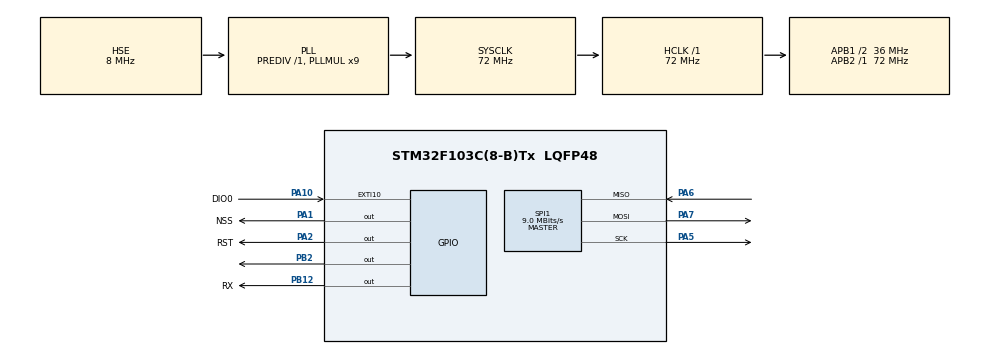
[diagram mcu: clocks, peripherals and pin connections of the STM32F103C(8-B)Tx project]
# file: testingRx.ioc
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Mcu.Family=STM32F1
Mcu.Name=STM32F103C(8-B)Tx
Mcu.Package=LQFP48
NVIC.EXTI15_10_IRQn=true\:0\:0\:false\:false\:true\:true\:true\:true
NVIC.PriorityGroup=NVIC_PRIORITYGROUP_4
PA1.GPIO_Label=NSS
PA1.PinState=GPIO_PIN_SET
PA1.Signal=GPIO_Output
PA10.GPIO_Label=DIO0
PA10.GPIO_ModeDefaultEXTI=GPIO_MODE_IT_RISING
PA10.Signal=GPXTI10
PA13.Mode=Serial_Wire
PA13.Signal=SYS_JTMS-SWDIO
PA14.Mode=Serial_Wire
PA14.Signal=SYS_JTCK-SWCLK
PA2.GPIO_Label=RST
PA2.PinState=GPIO_PIN_SET
PA2.Signal=GPIO_Output
PA5.Mode=Full_Duplex_Master
PA5.Signal=SPI1_SCK
PA6.Mode=Full_Duplex_Master
PA6.Signal=SPI1_MISO
PA7.Mode=Full_Duplex_Master
PA7.Signal=SPI1_MOSI
PB12.GPIO_Label=RX
PB12.Signal=GPIO_Output
PB2.Signal=GPIO_Output
PD0-OSC_IN.Mode=HSE-External-Oscillator
PD0-OSC_IN.Signal=RCC_OSC_IN
PD1-OSC_OUT.Mode=HSE-External-Oscillator
PD1-OSC_OUT.Signal=RCC_OSC_OUT
ProjectManager.HeapSize=0x200
ProjectManager.StackSize=0x400
ProjectManager.TargetToolchain=STM32CubeIDE
RCC.AHBFreq_Value=72000000
RCC.APB1CLKDivider=RCC_HCLK_DIV2
RCC.APB1Freq_Value=36000000
RCC.APB1TimFreq_Value=72000000
RCC.APB2Freq_Value=72000000
RCC.APB2TimFreq_Value=72000000
RCC.HCLKFreq_Value=72000000
RCC.PLLMUL=RCC_PLL_MUL9
RCC.PLLSourceVirtual=RCC_PLLSOURCE_HSE
RCC.SYSCLKFreq_VALUE=72000000
RCC.SYSCLKSource=RCC_SYSCLKSOURCE_PLLCLK
RCC.USBFreq_Value=72000000
SPI1.BaudRatePrescaler=SPI_BAUDRATEPRESCALER_8
SPI1.CalculateBaudRate=9.0 MBits/s
SPI1.Direction=SPI_DIRECTION_2LINES
SPI1.Mode=SPI_MODE_MASTER
SPI1.VirtualType=VM_MASTER
board=custom

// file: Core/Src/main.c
/* USER CODE BEGIN Header */
/**
  ******************************************************************************
  * @file           : main.c
  * @brief          : Main program body
  ******************************************************************************
  * @attention
  *
  * Copyright (c) 2026 STMicroelectronics.
  * All rights reserved.
  *
  * This software is licensed under terms that can be found in the LICENSE file
  * in the root directory of this software component.
  * If no LICENSE file comes with this software, it is provided AS-IS.
  *
  ******************************************************************************
  */
/* USER CODE END Header */
#include "main.h"
#include "spi.h"
#include "gpio.h"

/* USER CODE BEGIN Includes */
#include "Rx_functions.h"

#include "../../myDrivers/LoRa.h"
/* USER CODE END Includes */

/* USER CODE BEGIN PV */
 LoRa myLoRa;
 uint8_t status;
 uint8_t rec_data[20];
 uint8_t empty[20];
 uint8_t packet_size;
 uint32_t goodCount;
 uint32_t badCount;
 uint32_t rate;
 header hd;
 kinematics kin_packet;
 powertrain pwr_packet;
/* USER CODE END PV */

void SystemClock_Config(void);

int main(void)
{

  /* MCU Configuration--------------------------------------------------------*/

  /* Reset of all peripherals, Initializes the Flash interface and the Systick. */
  HAL_Init();

  /* Configure the system clock */
  SystemClock_Config();

  /* Initialize all configured peripherals */
  MX_GPIO_Init();
  MX_SPI1_Init();
  /* USER CODE BEGIN 2 */
myLoRa = newLoRa();
myLoRa.CS_port         = NSS_GPIO_Port;
myLoRa.CS_pin          = NSS_Pin;
myLoRa.reset_port      = RST_GPIO_Port;
myLoRa.reset_pin       = RST_Pin;
myLoRa.DIO0_port       = DIO0_GPIO_Port;
myLoRa.DIO0_pin        = DIO0_Pin;
myLoRa.hSPIx           = &hspi1;

if(LoRa_init(&myLoRa)==LORA_OK){
	HAL_GPIO_WritePin(GPIOB, GPIO_PIN_2, GPIO_PIN_SET);
}

LoRa_startReceiving(&myLoRa);

  /* USER CODE END 2 */

  /* Infinite loop */
  while (1)
  {
 packet_size = LoRa_receive(&myLoRa, rec_data, 20, &goodCount, &badCount);

 hd = deserialize_header(rec_data[0]);

 if(hd.ID==2){
		 kin_packet = deserialize_kinematics(rec_data);
		 pwr_packet = deserialize_powertrain(empty);
 }

 if(hd.ID == 1){
	 pwr_packet = deserialize_powertrain(rec_data);
	 kin_packet = deserialize_kinematics(empty);
 }

	 HAL_Delay(500);//turns out this delay is super important cuz without it the rec func gets called back to back too fast and it doesnt have time to listen
	 	 	 	 	//it just keeps continuously going into standby mode everytime the function is called

  }
}

void SystemClock_Config(void)
{
  RCC_OscInitTypeDef RCC_OscInitStruct = {0};
  RCC_ClkInitTypeDef RCC_ClkInitStruct = {0};

  /** Initializes the RCC Oscillators according to the specified parameters
  * in the RCC_OscInitTypeDef structure.
  */
  RCC_OscInitStruct.OscillatorType = RCC_OSCILLATORTYPE_HSE;
  RCC_OscInitStruct.HSEState = RCC_HSE_ON;
  RCC_OscInitStruct.HSEPredivValue = RCC_HSE_PREDIV_DIV1;
  RCC_OscInitStruct.HSIState = RCC_HSI_ON;
  RCC_OscInitStruct.PLL.PLLState = RCC_PLL_ON;
  RCC_OscInitStruct.PLL.PLLSource = RCC_PLLSOURCE_HSE;
  RCC_OscInitStruct.PLL.PLLMUL = RCC_PLL_MUL9;
  if (HAL_RCC_OscConfig(&RCC_OscInitStruct) != HAL_OK)
  {
    Error_Handler();
  }

  /** Initializes the CPU, AHB and APB buses clocks
  */
  RCC_ClkInitStruct.ClockType = RCC_CLOCKTYPE_HCLK|RCC_CLOCKTYPE_SYSCLK
                              |RCC_CLOCKTYPE_PCLK1|RCC_CLOCKTYPE_PCLK2;
  RCC_ClkInitStruct.SYSCLKSource = RCC_SYSCLKSOURCE_PLLCLK;
  RCC_ClkInitStruct.AHBCLKDivider = RCC_SYSCLK_DIV1;
  RCC_ClkInitStruct.APB1CLKDivider = RCC_HCLK_DIV2;
  RCC_ClkInitStruct.APB2CLKDivider = RCC_HCLK_DIV1;

  if (HAL_RCC_ClockConfig(&RCC_ClkInitStruct, FLASH_LATENCY_2) != HAL_OK)
  {
    Error_Handler();
  }
}

void Error_Handler(void)
{
  __disable_irq();
  while (1)
  {
  }
}
